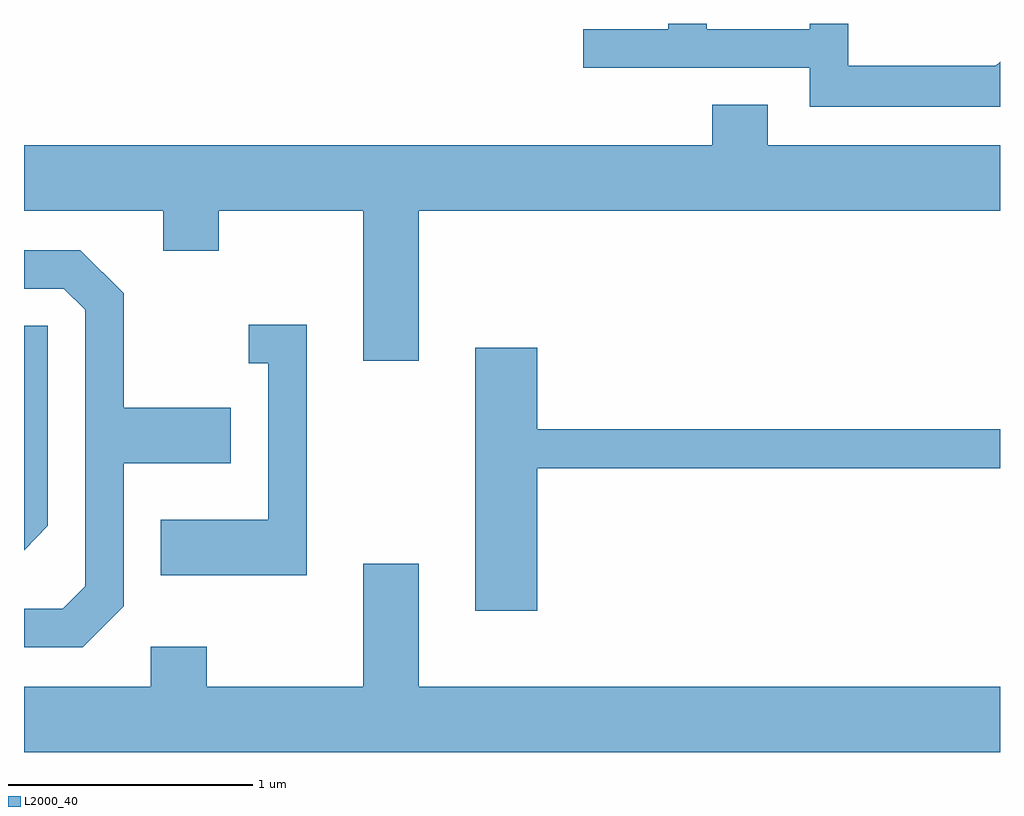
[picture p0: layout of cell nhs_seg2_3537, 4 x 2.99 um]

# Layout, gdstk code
import gdstk
lib = gdstk.Library(unit=1e-6, precision=1e-09)
def P(c, l, *ps):  # polygons
    for p in ps: c.add(gdstk.Polygon(p, *l))
L2000_40 = (2000, 40)

nhs_seg2_3537 = lib.new_cell('nhs_seg2_3537')
P(nhs_seg2_3537, L2000_40, [(293.611,995.646),(293.594,995.629),(292.989,995.629),(292.989,995.802),(292.831,995.802),(292.831,995.779),(292.409,995.779),(292.409,995.802),(292.251,995.802),(292.251,995.779),(291.903,995.779),(291.903,995.621),(292.831,995.621),(292.831,995.461),(293.611,995.461)],
  [(291.229,995.036),(293.611,995.036),(293.611,995.304),(292.659,995.304),(292.659,995.469),(292.431,995.469),(292.431,995.304),(289.611,995.304),(289.611,995.036),(290.181,995.036),(290.181,994.871),(290.409,994.871),(290.409,995.036),(291.001,995.036),(291.001,994.421),(291.229,994.421)],
  [(290.019,993.414),(290.019,994.001),(290.459,994.001),(290.459,994.229),(290.019,994.229),(290.019,994.697),(289.842,994.874),(289.611,994.874),(289.611,994.716),(289.774,994.716),(289.861,994.629),(289.861,993.497),(289.769,993.404),(289.611,993.404),(289.611,993.246),(289.852,993.246)],
  [(290.769,994.569),(290.533,994.569),(290.533,994.411),(290.611,994.411),(290.611,993.769),(290.171,993.769),(290.171,993.541),(290.769,993.541)],
  [(289.709,993.744),(289.709,994.564),(289.611,994.564),(289.611,993.645)],
  [(291.714,993.981),(293.611,993.981),(293.611,994.139),(291.714,994.139),(291.714,994.474),(291.461,994.474),(291.461,993.396),(291.714,993.396)],
  [(293.611,993.084),(291.229,993.084),(291.229,993.589),(291.001,993.589),(291.001,993.084),(290.359,993.084),(290.359,993.249),(290.131,993.249),(290.131,993.084),(289.611,993.084),(289.611,992.816),(293.611,992.816)])

lib.write_gds('nhs_seg2_3537.gds')
